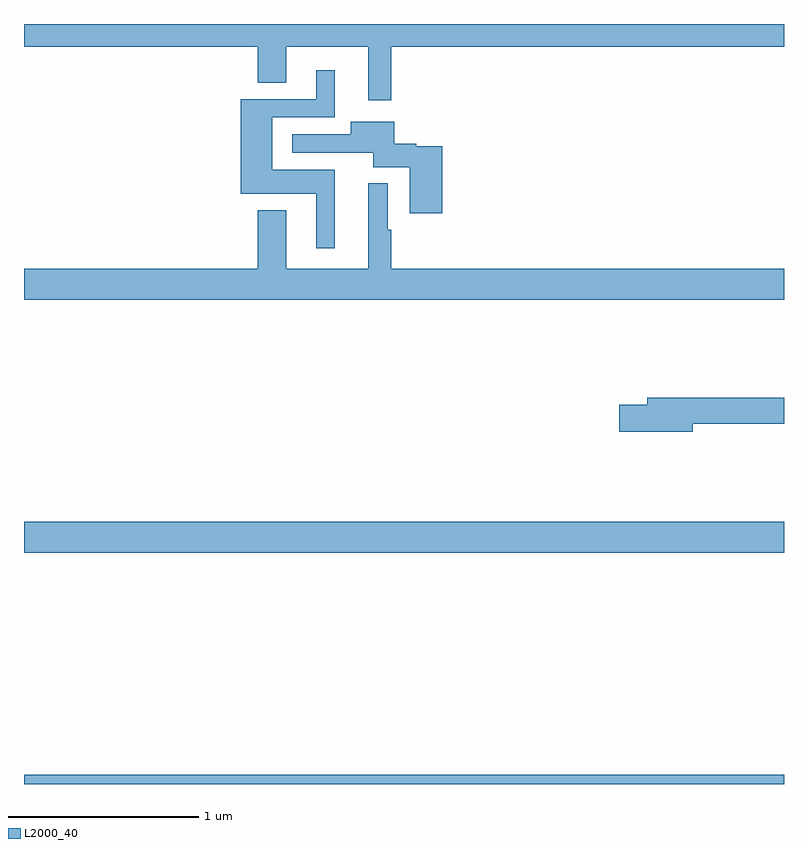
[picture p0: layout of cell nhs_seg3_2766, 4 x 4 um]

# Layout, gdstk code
import gdstk
lib = gdstk.Library(unit=1e-6, precision=1e-09)
def R(c, l, rs):  # rectangles x0, y0, x1, y1
    for r in rs: c.add(gdstk.rectangle(r[:2], r[2:], *l))
def P(c, l, *ps):  # polygons
    for p in ps: c.add(gdstk.Polygon(p, *l))
L2000_40 = (2000, 40)

nhs_seg3_2766 = lib.new_cell('nhs_seg3_2766')
R(nhs_seg3_2766, L2000_40, [(255,666.4,259,666.448), (255,667.616,259,667.78)])
P(nhs_seg3_2766, L2000_40, [(256.933,670.28),(259,670.28),(259,670.4),(255,670.4),(255,670.28),(256.229,670.28),(256.229,670.09),(256.381,670.09),(256.381,670.28),(256.811,670.28),(256.811,669.999),(256.933,669.999)],
  [(256.636,669.634),(256.306,669.634),(256.306,669.909),(256.636,669.909),(256.636,670.156),(256.538,670.156),(256.538,670.005),(256.142,670.005),(256.142,669.506),(256.538,669.506),(256.538,669.219),(256.636,669.219)],
  [(257.201,669.757),(257.064,669.757),(257.064,669.77),(256.948,669.77),(256.948,669.886),(256.721,669.886),(256.721,669.819),(256.413,669.819),(256.413,669.723),(256.838,669.723),(256.838,669.647),(257.03,669.647),(257.03,669.405),(257.201,669.405)],
  [(259,669.112),(256.933,669.112),(256.933,669.317),(256.915,669.317),(256.915,669.562),(256.811,669.562),(256.811,669.112),(256.381,669.112),(256.381,669.421),(256.229,669.421),(256.229,669.112),(255,669.112),(255,668.948),(259,668.948)],
  [(258.52,668.296),(259,668.296),(259,668.432),(258.281,668.432),(258.281,668.396),(258.132,668.396),(258.132,668.254),(258.52,668.254)])

lib.write_gds('nhs_seg3_2766.gds')
